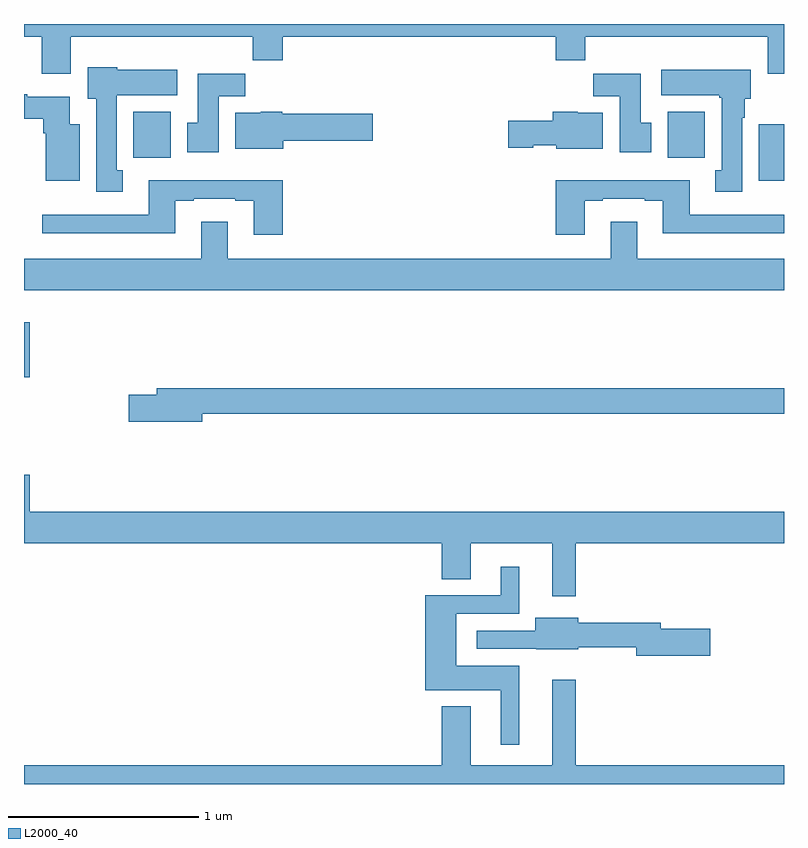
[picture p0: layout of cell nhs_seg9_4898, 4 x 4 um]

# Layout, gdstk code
import gdstk
lib = gdstk.Library(unit=1e-6, precision=1e-09)
def R(c, l, rs):  # rectangles x0, y0, x1, y1
    for r in rs: c.add(gdstk.rectangle(r[:2], r[2:], *l))
def P(c, l, *ps):  # polygons
    for p in ps: c.add(gdstk.Polygon(p, *l))
L2000_40 = (2000, 40)

nhs_seg9_4898 = lib.new_cell('nhs_seg9_4898')
R(nhs_seg9_4898, L2000_40, [(395,1182.641,395.03,1182.931), (398.867,1183.676,399,1183.972), (395.576,1183.796,395.773,1184.038), (398.387,1183.796,398.584,1184.038)])
P(nhs_seg9_4898, L2000_40, [(395.245,1184.432),(396.205,1184.432),(396.205,1184.308),(396.362,1184.308),(396.362,1184.432),(397.799,1184.432),(397.799,1184.308),(397.955,1184.308),(397.955,1184.432),(398.915,1184.432),(398.915,1184.238),(399,1184.238),(399,1184.5),(395,1184.5),(395,1184.432),(395.093,1184.432),(395.093,1184.238),(395.245,1184.238)],
  [(395.521,1183.73),(395.488,1183.73),(395.488,1184.126),(395.806,1184.126),(395.806,1184.26),(395.49,1184.26),(395.49,1184.272),(395.336,1184.272),(395.336,1184.106),(395.381,1184.106),(395.381,1183.617),(395.521,1183.617)],
  [(398.779,1184.006),(398.794,1184.006),(398.794,1184.106),(398.824,1184.106),(398.824,1184.26),(398.355,1184.26),(398.355,1184.126),(398.659,1184.126),(398.659,1184.113),(398.672,1184.113),(398.672,1183.73),(398.639,1183.73),(398.639,1183.617),(398.779,1183.617)],
  [(396.025,1184.12),(396.164,1184.12),(396.164,1184.239),(395.915,1184.239),(395.915,1183.98),(395.858,1183.98),(395.858,1183.824),(396.025,1183.824)],
  [(398.302,1183.98),(398.245,1183.98),(398.245,1184.239),(397.996,1184.239),(397.996,1184.12),(398.135,1184.12),(398.135,1183.824),(398.302,1183.824)],
  [(395.293,1183.972),(395.242,1183.972),(395.242,1184.118),(395.018,1184.118),(395.018,1184.131),(395,1184.131),(395,1184.002),(395.102,1184.002),(395.102,1183.925),(395.114,1183.925),(395.114,1183.676),(395.293,1183.676)],
  [(396.364,1183.886),(396.835,1183.886),(396.835,1184.028),(396.36,1184.028),(396.36,1184.038),(396.246,1184.038),(396.246,1184.032),(396.113,1184.032),(396.113,1183.844),(396.364,1183.844)],
  [(398.047,1184.032),(397.914,1184.032),(397.914,1184.038),(397.784,1184.038),(397.784,1183.992),(397.548,1183.992),(397.548,1183.85),(397.68,1183.85),(397.68,1183.862),(397.8,1183.862),(397.8,1183.844),(398.047,1183.844)],
  [(396.362,1183.678),(395.657,1183.678),(395.657,1183.497),(395.097,1183.497),(395.097,1183.4),(395.797,1183.4),(395.797,1183.569),(395.893,1183.569),(395.893,1183.581),(396.113,1183.581),(396.113,1183.569),(396.209,1183.569),(396.209,1183.392),(396.362,1183.392)],
  [(397.951,1183.569),(398.047,1183.569),(398.047,1183.581),(398.267,1183.581),(398.267,1183.569),(398.363,1183.569),(398.363,1183.4),(399,1183.4),(399,1183.497),(398.503,1183.497),(398.503,1183.678),(397.799,1183.678),(397.799,1183.392),(397.951,1183.392)],
  [(399,1183.264),(398.227,1183.264),(398.227,1183.459),(398.087,1183.459),(398.087,1183.264),(396.073,1183.264),(396.073,1183.459),(395.933,1183.459),(395.933,1183.264),(395,1183.264),(395,1183.1),(399,1183.1)],
  [(395.938,1182.448),(399,1182.448),(399,1182.584),(395.699,1182.584),(395.699,1182.548),(395.55,1182.548),(395.55,1182.406),(395.938,1182.406)],
  [(397.903,1181.768),(399,1181.768),(399,1181.932),(395.03,1181.932),(395.03,1182.127),(395,1182.127),(395,1181.768),(397.199,1181.768),(397.199,1181.578),(397.351,1181.578),(397.351,1181.768),(397.781,1181.768),(397.781,1181.487),(397.903,1181.487)],
  [(397.606,1181.122),(397.276,1181.122),(397.276,1181.397),(397.606,1181.397),(397.606,1181.644),(397.508,1181.644),(397.508,1181.493),(397.112,1181.493),(397.112,1180.994),(397.508,1180.994),(397.508,1180.707),(397.606,1180.707)],
  [(398.611,1181.316),(398.35,1181.316),(398.35,1181.35),(397.918,1181.35),(397.918,1181.374),(397.691,1181.374),(397.691,1181.307),(397.383,1181.307),(397.383,1181.211),(397.695,1181.211),(397.695,1181.21),(397.918,1181.21),(397.918,1181.221),(398.222,1181.221),(398.222,1181.174),(398.611,1181.174)],
  [(399,1180.6),(397.903,1180.6),(397.903,1181.05),(397.781,1181.05),(397.781,1180.6),(397.351,1180.6),(397.351,1180.909),(397.199,1180.909),(397.199,1180.6),(395,1180.6),(395,1180.5),(399,1180.5)])

lib.write_gds('nhs_seg9_4898.gds')
